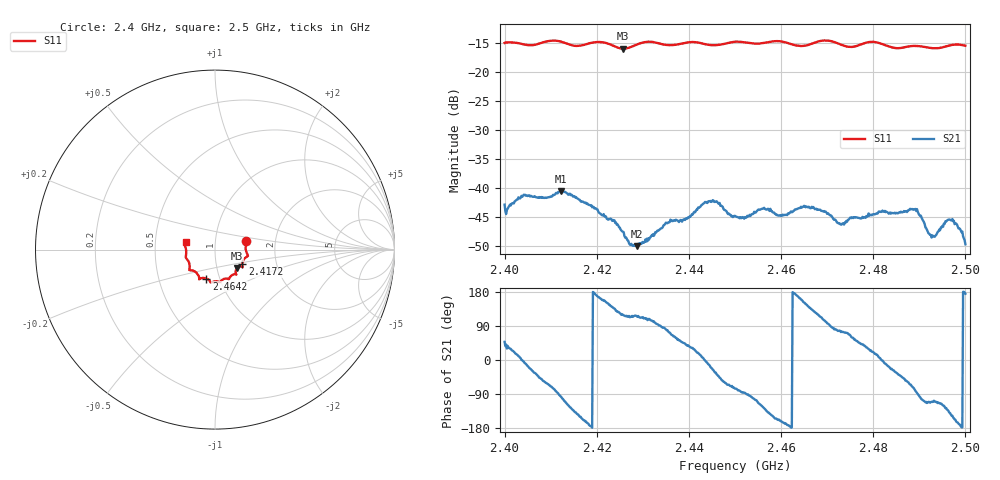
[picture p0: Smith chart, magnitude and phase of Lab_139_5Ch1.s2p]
# Hz S RI R 50
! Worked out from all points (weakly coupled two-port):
!   601 points, 2.4 GHz to 2.5 GHz, reference 50 ohm
!   highest |S21| = -40.55 dB at 2.4122 GHz (marker M1); lowest = -50.0 dB at 2.4287 GHz (marker M2)
!   lowest |S11| = -15.9 dB at 2.4257 GHz (marker M3), VSWR 1.38, Z = 62.5 - j13.1 ohm
!   |S11| at or under -10 dB: start of sweep to end of sweep
!   S12 and S22 are empty: the file has one direction only
!   S11 on the Smith chart (normalised r, x): 2.4 GHz: 1.41, +0.14; 2.4172 GHz: 1.34, -0.22; 2.4642 GHz: 0.86, -0.29; 2.5 GHz: 0.72, +0.06
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2.4e9  0.172 0.0488  0.00484 0.00534  0 0  0 0
2.404167e9  0.1721 0.0238  0.00875 -0.000667  0 0  0 0
2.412167e9  0.1797 -0.0381  -0.000993 -0.00933  0 0  0 0
2.416667e9  0.1528 -0.0749  -0.00679 -0.00344  0 0  0 0
2.417167e9  0.1518 -0.0807  -0.00703 -0.00269  0 0  0 0
2.423667e9  0.1396 -0.0943  -0.00379 0.00359  0 0  0 0
2.425667e9  0.1229 -0.102  -0.00205 0.00367  0 0  0 0
2.427333e9  0.1156 -0.117  -0.0013 0.00295  0 0  0 0
2.428667e9  0.1154 -0.1291  -0.00138 0.00283  0 0  0 0
2.433333e9  0.1128 -0.1376  -0.000242 0.00428  0 0  0 0
2.444667e9  0.0581 -0.1613  0.00736 -0.00243  0 0  0 0
2.45e9  0.0289 -0.1809  0.00144 -0.00557  0 0  0 0
2.456e9  -0.00658 -0.1779  -0.00365 -0.00553  0 0  0 0
2.4605e9  -0.0255 -0.1812  -0.00564 -0.00147  0 0  0 0
2.464167e9  -0.0482 -0.1613  -0.00641 0.00206  0 0  0 0
2.466667e9  -0.0762 -0.1589  -0.00473 0.00501  0 0  0 0
2.473167e9  -0.092 -0.1453  0.00126 0.00468  0 0  0 0
2.483333e9  -0.1409 -0.0899  0.00576 -0.00177  0 0  0 0
2.489167e9  -0.1625 -0.0444  0.000979 -0.00653  0 0  0 0
2.493e9  -0.1603 -0.0144  -0.0013 -0.00359  0 0  0 0
2.497e9  -0.1696 0.0269  -0.0044 -0.00288  0 0  0 0
2.5e9  -0.1638 0.0423  -0.00326 0.000294  0 0  0 0
